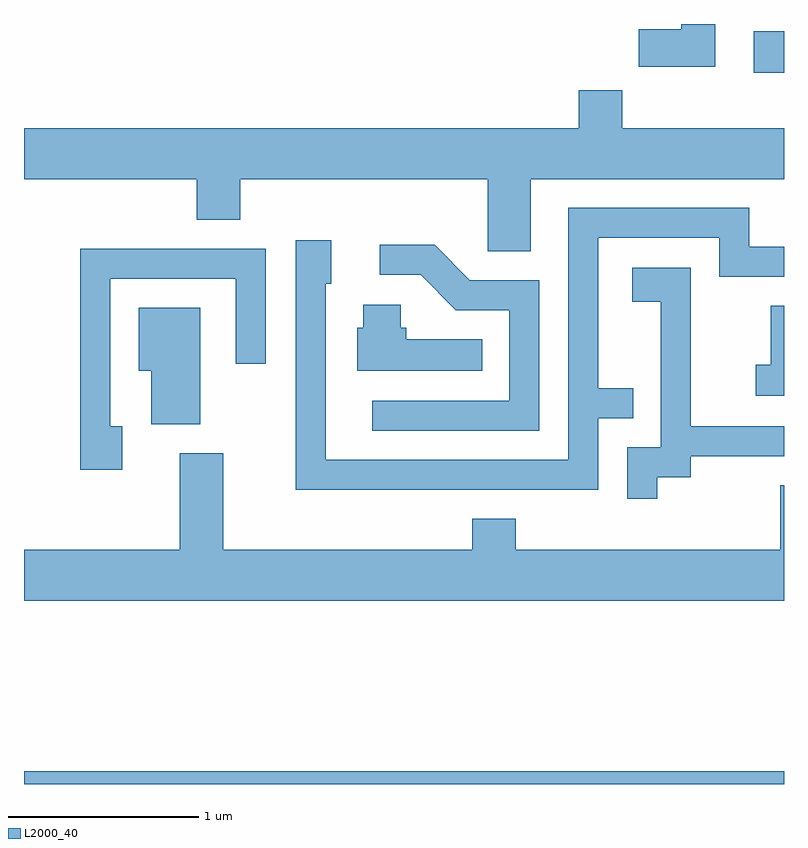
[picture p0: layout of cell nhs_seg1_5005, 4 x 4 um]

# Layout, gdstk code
import gdstk
lib = gdstk.Library(unit=1e-6, precision=1e-09)
def R(c, l, rs):  # rectangles x0, y0, x1, y1
    for r in rs: c.add(gdstk.rectangle(r[:2], r[2:], *l))
def P(c, l, *ps):  # polygons
    for p in ps: c.add(gdstk.Polygon(p, *l))
L2000_40 = (2000, 40)

nhs_seg1_5005 = lib.new_cell('nhs_seg1_5005')
R(nhs_seg1_5005, L2000_40, [(335.611,909.712,339.611,909.779), (339.451,913.456,339.611,913.674)])
P(nhs_seg1_5005, L2000_40, [(339.249,913.712),(339.071,913.712),(339.071,913.684),(338.846,913.684),(338.846,913.486),(339.249,913.486)],
  [(338.279,912.896),(339.611,912.896),(339.611,913.164),(338.759,913.164),(338.759,913.364),(338.531,913.364),(338.531,913.164),(335.611,913.164),(335.611,912.896),(336.521,912.896),(336.521,912.681),(336.749,912.681),(336.749,912.896),(338.051,912.896),(338.051,912.516),(338.279,912.516)],
  [(338.634,911.636),(338.818,911.636),(338.818,911.794),(338.634,911.794),(338.634,912.586),(339.271,912.586),(339.271,912.381),(339.611,912.381),(339.611,912.539),(339.429,912.539),(339.429,912.744),(338.476,912.744),(338.476,911.419),(337.199,911.419),(337.199,912.346),(337.229,912.346),(337.229,912.574),(337.041,912.574),(337.041,911.261),(338.634,911.261)],
  [(338.324,912.364),(337.957,912.364),(337.772,912.549),(337.483,912.549),(337.483,912.391),(337.699,912.391),(337.884,912.206),(338.166,912.206),(338.166,911.729),(337.443,911.729),(337.443,911.571),(338.324,911.571)],
  [(336.129,911.594),(336.064,911.594),(336.064,912.371),(336.726,912.371),(336.726,911.923),(336.884,911.923),(336.884,912.529),(335.906,912.529),(335.906,911.366),(336.129,911.366)],
  [(338.944,911.326),(339.119,911.326),(339.119,911.436),(339.611,911.436),(339.611,911.594),(339.119,911.594),(339.119,912.429),(338.811,912.429),(338.811,912.251),(338.961,912.251),(338.961,911.484),(338.786,911.484),(338.786,911.213),(338.944,911.213)],
  [(338.023,912.054),(337.624,912.054),(337.624,912.114),(337.594,912.114),(337.594,912.234),(337.396,912.234),(337.396,912.114),(337.366,912.114),(337.366,911.886),(338.023,911.886)],
  [(339.611,912.229),(339.541,912.229),(339.541,911.919),(339.463,911.919),(339.463,911.756),(339.611,911.756)],
  [(336.539,912.219),(336.216,912.219),(336.216,911.886),(336.281,911.886),(336.281,911.606),(336.539,911.606)],
  [(339.611,911.284),(339.591,911.284),(339.591,910.944),(338.199,910.944),(338.199,911.109),(337.971,911.109),(337.971,910.944),(336.659,910.944),(336.659,911.454),(336.431,911.454),(336.431,910.944),(335.611,910.944),(335.611,910.676),(339.611,910.676)])

lib.write_gds('nhs_seg1_5005.gds')
